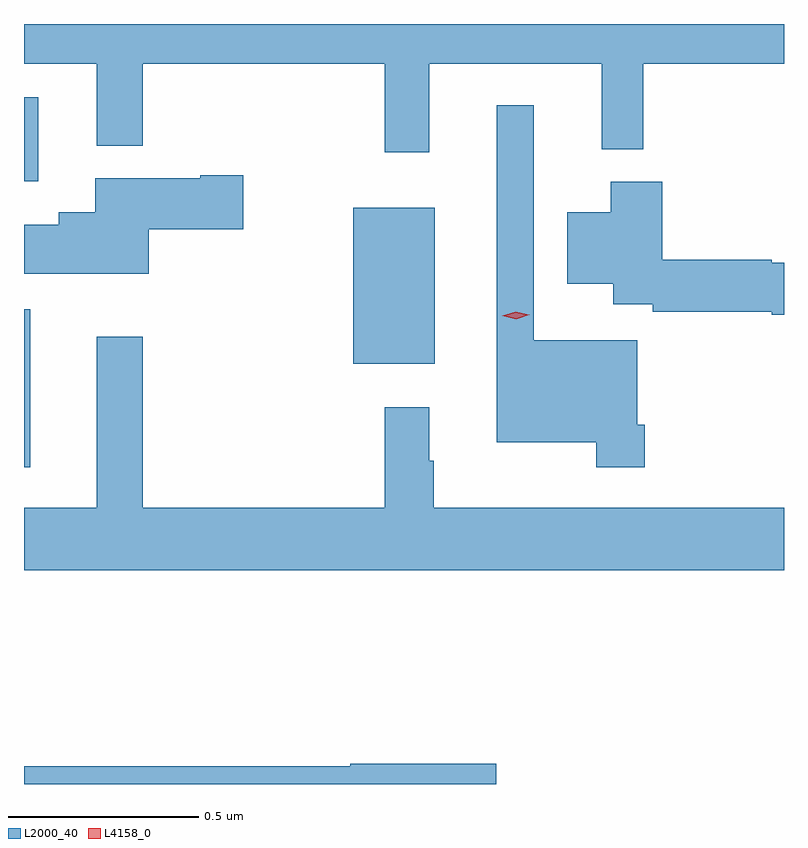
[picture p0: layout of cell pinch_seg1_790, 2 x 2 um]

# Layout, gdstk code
import gdstk
lib = gdstk.Library(unit=1e-6, precision=1e-09)
def R(c, l, rs):  # rectangles x0, y0, x1, y1
    for r in rs: c.add(gdstk.rectangle(r[:2], r[2:], *l))
def P(c, l, *ps):  # polygons
    for p in ps: c.add(gdstk.Polygon(p, *l))
L2000_40 = (2000, 40)
L4158_0 = (4158, 0)

pinch_seg1_790 = lib.new_cell('pinch_seg1_790')
R(pinch_seg1_790, L2000_40, [(552.768,573.315,552.784,573.73), (553.634,573.587,553.849,573.997), (552.768,574.067,552.805,574.288)])
P(pinch_seg1_790, L2000_40, [(553.835,574.376),(554.288,574.376),(554.288,574.151),(554.398,574.151),(554.398,574.376),(554.768,574.376),(554.768,574.481),(552.768,574.481),(552.768,574.376),(552.959,574.376),(552.959,574.16),(553.081,574.16),(553.081,574.376),(553.717,574.376),(553.717,574.143),(553.835,574.143)],
  [(554.402,573.427),(554.382,573.427),(554.382,573.649),(554.109,573.649),(554.109,574.267),(554.012,574.267),(554.012,573.38),(554.274,573.38),(554.274,573.315),(554.402,573.315)],
  [(553.096,573.941),(553.345,573.941),(553.345,574.083),(553.232,574.083),(553.232,574.075),(552.956,574.075),(552.956,573.985),(552.86,573.985),(552.86,573.953),(552.768,573.953),(552.768,573.824),(553.096,573.824)],
  [(554.768,573.853),(554.736,573.853),(554.736,573.86),(554.447,573.86),(554.447,574.066),(554.312,574.066),(554.312,573.985),(554.198,573.985),(554.198,573.797),(554.318,573.797),(554.318,573.744),(554.422,573.744),(554.422,573.724),(554.736,573.724),(554.736,573.716),(554.768,573.716)],
  [(554.768,573.208),(553.846,573.208),(553.846,573.332),(553.834,573.332),(553.834,573.472),(553.717,573.472),(553.717,573.208),(553.081,573.208),(553.081,573.658),(552.959,573.658),(552.959,573.208),(552.768,573.208),(552.768,573.044),(554.768,573.044)],
  [(554.011,572.534),(553.626,572.534),(553.626,572.528),(552.768,572.528),(552.768,572.481),(554.011,572.481)])
P(pinch_seg1_790, L4158_0, [(554.063,573.704),(554.027,573.713),(554.027,573.713),(554.027,573.713),(554.062,573.724),(554.098,573.716),(554.099,573.716),(554.098,573.716)])

lib.write_gds('pinch_seg1_790.gds')
